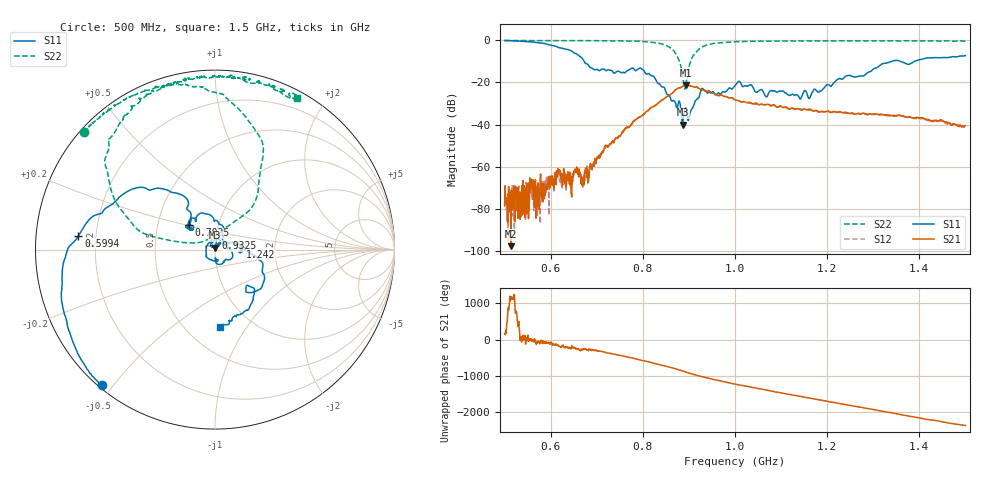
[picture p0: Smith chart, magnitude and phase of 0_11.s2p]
!Agilent Technologies,E8364B,US42250235,A.06.04.32
!Agilent E8364B: A.06.04.32
!Date: Friday, January 15, 2021 14:59:06
!Correction: S11(Full 2 Port(1,2)) S21(Full 2 Port(1,2)) S12(Full 2 Port(1,2)) S22(Full 2 Port(1,2))
!S2P File: Measurements: S11, S21, S12, S22:
# Hz S  dB  R 50
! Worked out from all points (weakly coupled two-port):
!   1601 points, 500 MHz to 1.5 GHz, reference 50 ohm
!   highest |S21| = -21.44 dB at 894.4 MHz (marker M1); lowest = -97.6 dB at 513.8 MHz (marker M2)
!   lowest |S11| = -40.0 dB at 886.2 MHz (marker M3), VSWR 1.02, Z = 49.8 + j0.985 ohm
!   |S11| at or under -10 dB: 672.5 MHz to 1.34 GHz (667.9 MHz wide, 66.4 % of centre); 1.359 GHz to 1.39 GHz (30.63 MHz wide, 2.23 % of centre)
!   |S22| runs from -23.2 to -0.1 dB; largest |S21 - S12| = 0.0057
!   S11 on the Smith chart (normalised r, x): 500 MHz: 0.01, -0.47; 599.4 MHz: 0.13, +0.05; 702.5 MHz: 0.72, +0.20; 932.5 MHz: 1.00, +0.13; 1.242 GHz: 1.33, +0.04; 1.5 GHz: 0.72, -0.76
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5e8  -0.12 -129.9  -78.55 164.0  -76.49 161.9  -0.16 137.9
5.1375e8  -0.20 -136.2  -97.57 20.7  -82.77 -2.0  -0.17 136.0
5.59375e8  -0.86 -159.6  -66.23 -9.5  -75.35 -26.3  -0.18 132.5
5.74375e8  -1.23 -168.9  -70.43 -67.4  -73.32 -64.6  -0.18 130.7
5.99375e8  -2.33 174.2  -66.42 -115.0  -66.08 -84.2  -0.19 129.1
6.175e8  -3.52 162.4  -62.11 175.7  -63.49 -162.9  -0.18 127.3
6.43125e8  -4.87 143.9  -69.30 104.1  -65.68 134.7  -0.19 124.1
6.54375e8  -6.34 135.6  -61.46 121.5  -61.36 123.6  -0.23 123.4
6.66875e8  -8.27 125.0  -66.88 95.7  -65.47 88.2  -0.21 121.1
7.025e8  -14.03 137.0  -55.09 45.6  -55.44 45.8  -0.23 117.8
7.95625e8  -13.33 108.8  -36.07 150.4  -36.12 152.6  -0.60 100.9
8.3375e8  -20.61 67.8  -29.78 37.0  -29.72 39.7  -1.36 86.3
8.68125e8  -28.70 51.9  -24.14 -74.8  -24.13 -71.9  -5.25 61.5
8.8625e8  -39.96 100.1  -21.82 -146.7  -21.93 -143.6  -16.76 61.8
8.94375e8  -32.41 72.6  -21.44 178.6  -21.56 -177.6  -19.61 158.7
9.075e8  -32.19 139.9  -21.91 126.7  -21.94 130.3  -7.97 167.4
9.325e8  -23.57 85.8  -23.68 40.6  -23.84 44.8  -2.81 145.3
1e9  -21.55 1.0  -28.20 -150.8  -28.12 -147.0  -0.77 120.3
1.166875e9  -24.97 55.5  -33.22 168.4  -33.31 174.2  -0.36 97.1
1.241875e9  -16.85 6.5  -34.23 -1.0  -34.46 3.1  -0.33 89.4
1.33375e9  -10.48 -26.3  -35.52 148.5  -35.82 152.3  -0.30 79.1
1.5e9  -7.30 -86.0  -40.46 149.0  -41.05 142.1  -0.38 61.6
